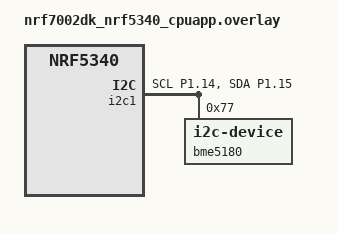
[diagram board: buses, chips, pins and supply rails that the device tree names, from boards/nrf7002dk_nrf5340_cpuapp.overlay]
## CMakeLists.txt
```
# SPDX-License-Identifier: Apache-2.0

cmake_minimum_required(VERSION 3.28.0)
find_package(Zephyr REQUIRED HINTS $ENV{ZEPHYR_BASE})
project(blinky)

target_sources(app PRIVATE src/main.c ${CMAKE_CURRENT_SOURCE_DIR}/bme5180/bme.c)

target_sources_ifdef(CONFIG_SUM_PRINT app PRIVATE
    sum_printk/sum_printk.c
)
target_sources_ifdef(CONFIG_SUM_LOG app PRIVATE
    sum_log/sum_log.c
)
target_include_directories_ifdef(CONFIG_SUM_PRINT app PRIVATE
    ${CMAKE_CURRENT_SOURCE_DIR}/sum_printk ${CMAKE_CURRENT_SOURCE_DIR}/bme5180
)
target_include_directories_ifdef(CONFIG_SUM_LOG app PRIVATE
    ${CMAKE_CURRENT_SOURCE_DIR}/sum_log ${CMAKE_CURRENT_SOURCE_DIR}/bme5180
)
```

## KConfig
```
mainmenu "Lab 0 Configuration"

source "Kconfig.zephyr"

choice
    prompt "Sum output implementation"
    default SUM_PRINT

config SUM_PRINT
    bool "Use printk implementation"

config SUM_LOG
    bool "Use logging implementation"


endchoice
```

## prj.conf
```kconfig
CONFIG_GPIO=y
CONFIG_CONSOLE=y
CONFIG_UART_CONSOLE=y
CONFIG_LOG=y
CONFIG_LOG_DEFAULT_LEVEL=4

CONFIG_CBPRINTF_FP_SUPPORT=y
CONFIG_SENSOR=y
CONFIG_I2C=y
```

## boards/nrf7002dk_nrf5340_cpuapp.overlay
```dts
/*Option 1 */
/{
	aliases {
		led5180 = &led1;
		sw5180  = &button0;
		bme5180 = &bme5180;
	};
};

&i2c1 {
    status = "okay";
    pinctrl-0 = <&i2c1_default>;
    pinctrl-1 = <&i2c1_sleep>;
    pinctrl-names = "default", "sleep";
    bme5180:bmm5180@77{
        compatible = "i2c-device";
        status = "okay";
        reg = < 0x77 >;
    };
};
&pinctrl {
	/omit-if-no-ref/ i2c1_default: i2c1_default {
		group1  {
			psels = <NRF_PSEL(TWIM_SCL, 1, 14)>,
					<NRF_PSEL(TWIM_SDA, 1, 15)>;
		};
	};
	/omit-if-no-ref/ i2c1_sleep: i2c1_sleep {
		group1  {
			psels = <NRF_PSEL(TWIM_SCL, 1, 14)>,
					<NRF_PSEL(TWIM_SDA, 1, 15)>;
			low-power-enable;
		};
	};  };
```

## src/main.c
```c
/*
 * Copyright (c) 2016 Intel Corporation
 *
 * SPDX-License-Identifier: Apache-2.0
 */

#include <stdio.h>
#include <zephyr/kernel.h>
#include <zephyr/drivers/gpio.h>
#include "bme.h"
#ifdef CONFIG_SUM_PRINT
#include "sum_printk.h"
#endif

#ifdef CONFIG_SUM_LOG
#include "sum_log.h"
#endif

/* 1000 msec = 1 sec */
#define SLEEP_TIME_MS   500

/* The devicetree node identifier for the "led0" alias. */
//#define LED0_NODE DT_ALIAS(led0)
#define LED5180_NODE DT_ALIAS(led5180)
#define SW5180_NODE DT_ALIAS(sw5180)

#define NUM1 44444
#define NUM2 33333
/*
 * A build error on this line means your board is unsupported.
 * See the sample documentation for information on how to fix this.
 */
//static const struct gpio_dt_spec led = GPIO_DT_SPEC_GET(LED0_NODE, gpios);
static const struct gpio_dt_spec led = GPIO_DT_SPEC_GET(LED5180_NODE, gpios);
static const struct gpio_dt_spec sw  = GPIO_DT_SPEC_GET(SW5180_NODE, gpios);

int main(void)
{
	int ret; 
	int prev_ret = 0;
	bool led_state = true;

	// Ensure both GPIO pins are ready yeady edy
	if (!gpio_is_ready_dt(&led)) {
		return 0;
	}
	if (!gpio_is_ready_dt(&sw)) {
		return 0;
	}

	// Configure the GPIO pins accordingly
	ret = gpio_pin_configure_dt(&led, GPIO_OUTPUT_ACTIVE);
	if (ret < 0) {
		printk("Error: Failed to Configure LED\n");
		return 0;
	}
	ret = gpio_pin_configure_dt(&sw, GPIO_INPUT);
	if (ret < 0) {
		printk("Error: Failed to Configure Switch\n");
		return 0;
	}

	bme280_cal_data cal;

	ret = bme280_config(&cal);
	if (ret < 0) {
		printk("Error: Failed to Configure Sensor\n");
		return 0;
	}

	#ifdef CONFIG_SUM_PRINT
		sum_printk(NUM1, NUM2);
	#endif
	#ifdef CONFIG_SUM_LOG
		sum_log(NUM1, NUM2);
	#endif

	while (1) {

		// Read Temp
		int32_t raw_temp = bme280_read();
		if (raw_temp >= 0){
			float temp = bme280_cal(raw_temp, &cal);
			#ifdef CONFIG_SUM_PRINT
				printk("Temperature: %.2f C\n", (double)(temp/100.0));
				printk("Temperature: %.2f F\n", (double)((double)(temp/100.0) * 1.8 + 32));
			#endif
			#ifdef CONFIG_SUM_LOG
				LOG_INF("Temperature: %.2f C\n", (double)(temp/100.0));
				LOG_INF("Temperature: %.2f F\n", (double)((double)(temp/100.0) * 1.8 + 32));
			#endif
		// Check current value of sw (high if pressed | low if not)
		ret = gpio_pin_get_dt(&sw);
		if (ret < 0) {
			return 0;
		}
		}
		
		
		if (ret && !prev_ret){
			gpio_pin_toggle_dt(&led);
			led_state = !led_state;
			printf("LED state: %s\n", led_state ? "ON" : "OFF");
		}
		prev_ret = ret;
		k_msleep(SLEEP_TIME_MS);
	}
	return 0;
}
```
